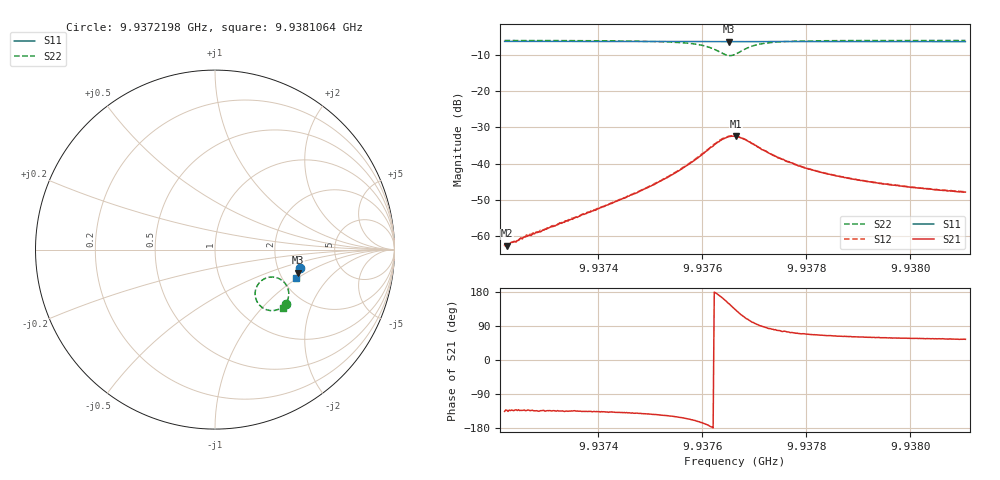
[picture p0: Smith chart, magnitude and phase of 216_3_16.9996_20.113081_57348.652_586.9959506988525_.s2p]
#  HZ  S  RI  R  50.00
! Rohde & Schwarz Vector Network Analyzer
! Rohde-Schwarz,ZNB20-2Port,1311601062101988,3.16
! Created: UTC 3/20/2024, 11:01:47 PM
! freq[Hz]  re:S11  im:S11  re:S21  im:S21  re:S12  im:S12  re:S22  im:S22
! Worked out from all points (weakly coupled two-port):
!   401 points, 9.9372198 GHz to 9.9381064 GHz, reference 50 ohm
!   highest |S21| = -32.43 dB at 9.9376654 GHz (marker M1); lowest = -62.7 dB at 9.9372243 GHz (marker M2)
!   lowest |S11| = -6.4 dB at 9.9376521 GHz (marker M3), VSWR 2.84, Z = 126 - j42 ohm
!   |S11| at or under -10 dB: nowhere
!   |S22| runs from -10.2 to -6.1 dB; largest |S21 - S12| = 0.001
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9.93721983e9  0.4731 -0.1014  -0.000538 -0.000528  -0.000483 -0.00054  0.3934 -0.3052
9.93722427e9  0.4729 -0.1017  -0.000498 -0.000539  -0.000498 -0.000559  0.3931 -0.3057
9.9372553e9  0.4724 -0.1038  -0.000646 -0.000697  -0.000606 -0.000665  0.3904 -0.3081
9.93727746e9  0.472 -0.1051  -0.000745 -0.000772  -0.000775 -0.000794  0.3885 -0.3099
9.93736834e9  0.4701 -0.1115  -0.00142 -0.00138  -0.00141 -0.00136  0.3785 -0.3181
9.9374703e9  0.4679 -0.1184  -0.00296 -0.00244  -0.00303 -0.00246  0.3598 -0.3301
9.93751685e9  0.4666 -0.1214  -0.00457 -0.00322  -0.00469 -0.00317  0.344 -0.3361
9.9375634e9  0.4655 -0.1246  -0.00774 -0.00398  -0.00799 -0.00392  0.3151 -0.3398
9.93760551e9  0.4637 -0.1277  -0.0141 -0.00283  -0.0144 -0.00258  0.264 -0.3236
9.93763432e9  0.4622 -0.1288  -0.0202 0.00403  -0.0206 0.0046  0.2246 -0.2605
9.93765206e9  0.4615 -0.1288  -0.0199 0.0125  -0.0198 0.0134  0.2398 -0.1939
9.93766314e9  0.4617 -0.129  -0.0164 0.0172  -0.016 0.018  0.2748 -0.1628
9.93766536e9  0.4616 -0.1291  -0.0156 0.0181  -0.0148 0.0187  0.2835 -0.1591
9.93767644e9  0.4619 -0.1295  -0.0104 0.0196  -0.00989 0.0203  0.3252 -0.1532
9.93768974e9  0.4623 -0.1303  -0.00531 0.0193  -0.00469 0.0197  0.3643 -0.166
9.93771634e9  0.4624 -0.1323  0.000491 0.0155  0.000931 0.0156  0.4015 -0.2053
9.93775845e9  0.4619 -0.1356  0.00268 0.0108  0.0031 0.0106  0.4111 -0.249
9.93781165e9  0.4609 -0.1394  0.00319 0.00751  0.00334 0.00749  0.4064 -0.2764
9.93788479e9  0.4589 -0.1444  0.00291 0.00547  0.00308 0.00543  0.3981 -0.2958
9.93796015e9  0.4572 -0.1493  0.00266 0.00435  0.00277 0.00436  0.3909 -0.3077
9.93802665e9  0.4555 -0.1536  0.00247 0.00375  0.00257 0.00376  0.3853 -0.3153
9.93810644e9  0.4534 -0.1588  0.00234 0.00329  0.00242 0.00328  0.3795 -0.3226
